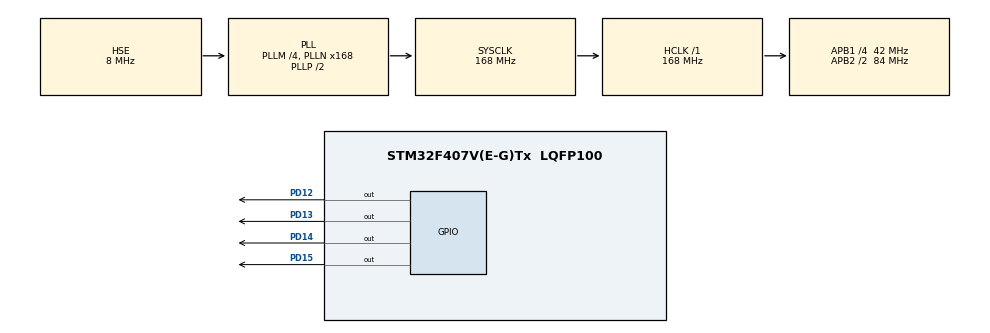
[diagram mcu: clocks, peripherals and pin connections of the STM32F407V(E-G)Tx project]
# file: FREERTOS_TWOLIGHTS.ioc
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FREERTOS.BinarySemaphores01=myBinarySem01,Dynamic,NULL,Available;myBinarySem02,Dynamic,NULL,Available
FREERTOS.Tasks01=TrafficLight1,0,128,StartTrafficLight1,Default,NULL,Dynamic,NULL,NULL;TrafficLight2,1,128,StartTrafficLight2,Default,NULL,Dynamic,NULL,NULL
FREERTOS.configUSE_NEWLIB_REENTRANT=1
Mcu.Family=STM32F4
Mcu.Name=STM32F407V(E-G)Tx
Mcu.Package=LQFP100
NVIC.PriorityGroup=NVIC_PRIORITYGROUP_4
NVIC.TIM1_UP_TIM10_IRQn=true\:15\:0\:false\:false\:true\:false\:false\:true\:true
NVIC.TimeBase=TIM1_UP_TIM10_IRQn
NVIC.TimeBaseIP=TIM1
PA13.Mode=Serial_Wire
PA13.Signal=SYS_JTMS-SWDIO
PA14.Mode=Serial_Wire
PA14.Signal=SYS_JTCK-SWCLK
PD12.Signal=GPIO_Output
PD13.Signal=GPIO_Output
PD14.Signal=GPIO_Output
PD15.Signal=GPIO_Output
PH0-OSC_IN.Mode=HSE-External-Oscillator
PH0-OSC_IN.Signal=RCC_OSC_IN
PH1-OSC_OUT.Mode=HSE-External-Oscillator
PH1-OSC_OUT.Signal=RCC_OSC_OUT
ProjectManager.HeapSize=0x200
ProjectManager.StackSize=0x400
ProjectManager.TargetToolchain=STM32CubeIDE
RCC.48MHZClocksFreq_Value=84000000
RCC.AHBFreq_Value=168000000
RCC.APB1CLKDivider=RCC_HCLK_DIV4
RCC.APB1Freq_Value=42000000
RCC.APB1TimFreq_Value=84000000
RCC.APB2CLKDivider=RCC_HCLK_DIV2
RCC.APB2Freq_Value=84000000
RCC.APB2TimFreq_Value=168000000
RCC.CortexFreq_Value=168000000
RCC.HCLKFreq_Value=168000000
RCC.HSE_VALUE=8000000
RCC.HSI_VALUE=16000000
RCC.LSE_VALUE=32768
RCC.PLLM=4
RCC.PLLN=168
RCC.PLLSourceVirtual=RCC_PLLSOURCE_HSE
RCC.SYSCLKFreq_VALUE=168000000
RCC.SYSCLKSource=RCC_SYSCLKSOURCE_PLLCLK
RCC.VCOOutputFreq_Value=336000000
VP_FREERTOS_VS_CMSIS_V1.Mode=CMSIS_V1
VP_SYS_VS_tim1.Mode=TIM1
board=custom

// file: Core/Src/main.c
/* USER CODE BEGIN Header */
/**
  ******************************************************************************
  * @file           : main.c
  * @brief          : Main program body
  ******************************************************************************
  * @attention
  *
  * Copyright (c) 2024 STMicroelectronics.
  * All rights reserved.
  *
  * This software is licensed under terms that can be found in the LICENSE file
  * in the root directory of this software component.
  * If no LICENSE file comes with this software, it is provided AS-IS.
  *
  ******************************************************************************
  */
/* USER CODE END Header */
#include "main.h"
#include "cmsis_os.h"

osThreadId TrafficLight1Handle;
osThreadId TrafficLight2Handle;
osSemaphoreId myBinarySem01Handle;
osSemaphoreId myBinarySem02Handle;

void SystemClock_Config(void);
static void MX_GPIO_Init(void);
void StartTrafficLight1(void const * argument);
void StartTrafficLight2(void const * argument);

int main(void)
{

  /* MCU Configuration--------------------------------------------------------*/

  /* Reset of all peripherals, Initializes the Flash interface and the Systick. */
  HAL_Init();

  /* Configure the system clock */
  SystemClock_Config();

  /* Initialize all configured peripherals */
  MX_GPIO_Init();

  /* Create the semaphores(s) */
  /* definition and creation of myBinarySem01 */
  osSemaphoreDef(myBinarySem01);
  myBinarySem01Handle = osSemaphoreCreate(osSemaphore(myBinarySem01), 1);

  /* definition and creation of myBinarySem02 */
  osSemaphoreDef(myBinarySem02);
  myBinarySem02Handle = osSemaphoreCreate(osSemaphore(myBinarySem02), 1);

  /* Create the thread(s) */
  /* definition and creation of TrafficLight1 */
  osThreadDef(TrafficLight1, StartTrafficLight1, osPriorityNormal, 0, 128);
  TrafficLight1Handle = osThreadCreate(osThread(TrafficLight1), NULL);

  /* definition and creation of TrafficLight2 */
  osThreadDef(TrafficLight2, StartTrafficLight2, osPriorityAboveNormal, 0, 128);
  TrafficLight2Handle = osThreadCreate(osThread(TrafficLight2), NULL);

  /* Start scheduler */
  osKernelStart();

  /* We should never get here as control is now taken by the scheduler */

  /* Infinite loop */
  while (1)
  {

  }
}

void SystemClock_Config(void)
{
  RCC_OscInitTypeDef RCC_OscInitStruct = {0};
  RCC_ClkInitTypeDef RCC_ClkInitStruct = {0};

  /** Configure the main internal regulator output voltage
  */
  __HAL_RCC_PWR_CLK_ENABLE();
  __HAL_PWR_VOLTAGESCALING_CONFIG(PWR_REGULATOR_VOLTAGE_SCALE1);

  /** Initializes the RCC Oscillators according to the specified parameters
  * in the RCC_OscInitTypeDef structure.
  */
  RCC_OscInitStruct.OscillatorType = RCC_OSCILLATORTYPE_HSE;
  RCC_OscInitStruct.HSEState = RCC_HSE_ON;
  RCC_OscInitStruct.PLL.PLLState = RCC_PLL_ON;
  RCC_OscInitStruct.PLL.PLLSource = RCC_PLLSOURCE_HSE;
  RCC_OscInitStruct.PLL.PLLM = 4;
  RCC_OscInitStruct.PLL.PLLN = 168;
  RCC_OscInitStruct.PLL.PLLP = RCC_PLLP_DIV2;
  RCC_OscInitStruct.PLL.PLLQ = 4;
  if (HAL_RCC_OscConfig(&RCC_OscInitStruct) != HAL_OK)
  {
    Error_Handler();
  }

  /** Initializes the CPU, AHB and APB buses clocks
  */
  RCC_ClkInitStruct.ClockType = RCC_CLOCKTYPE_HCLK|RCC_CLOCKTYPE_SYSCLK
                              |RCC_CLOCKTYPE_PCLK1|RCC_CLOCKTYPE_PCLK2;
  RCC_ClkInitStruct.SYSCLKSource = RCC_SYSCLKSOURCE_PLLCLK;
  RCC_ClkInitStruct.AHBCLKDivider = RCC_SYSCLK_DIV1;
  RCC_ClkInitStruct.APB1CLKDivider = RCC_HCLK_DIV4;
  RCC_ClkInitStruct.APB2CLKDivider = RCC_HCLK_DIV2;

  if (HAL_RCC_ClockConfig(&RCC_ClkInitStruct, FLASH_LATENCY_5) != HAL_OK)
  {
    Error_Handler();
  }
}

static void MX_GPIO_Init(void)
{
  GPIO_InitTypeDef GPIO_InitStruct = {0};

  /* GPIO Ports Clock Enable */
  __HAL_RCC_GPIOH_CLK_ENABLE();
  __HAL_RCC_GPIOD_CLK_ENABLE();
  __HAL_RCC_GPIOA_CLK_ENABLE();

  /*Configure GPIO pin Output Level */
  HAL_GPIO_WritePin(GPIOD, GPIO_PIN_12|GPIO_PIN_13|GPIO_PIN_14|GPIO_PIN_15, GPIO_PIN_RESET);

  /*Configure GPIO pins : PD12 PD13 PD14 PD15 */
  GPIO_InitStruct.Pin = GPIO_PIN_12|GPIO_PIN_13|GPIO_PIN_14|GPIO_PIN_15;
  GPIO_InitStruct.Mode = GPIO_MODE_OUTPUT_PP;
  GPIO_InitStruct.Pull = GPIO_NOPULL;
  GPIO_InitStruct.Speed = GPIO_SPEED_FREQ_LOW;
  HAL_GPIO_Init(GPIOD, &GPIO_InitStruct);

}

void StartTrafficLight1(void const * argument)
{
  /* USER CODE BEGIN 5 */
  /* Infinite loop */
	HAL_GPIO_WritePin(GPIOD,GPIO_PIN_12,GPIO_PIN_SET); // RED Light 2 on

  for(;;)
  {
	  HAL_Delay(1000);
	  HAL_GPIO_WritePin(GPIOD,GPIO_PIN_12,GPIO_PIN_RESET);
	  HAL_GPIO_WritePin(GPIOD,GPIO_PIN_13,GPIO_PIN_SET);
	  HAL_Delay(3000);

	  HAL_GPIO_WritePin(GPIOD,GPIO_PIN_13,GPIO_PIN_RESET);
	  HAL_GPIO_WritePin(GPIOD,GPIO_PIN_12,GPIO_PIN_SET);
	  vTaskDelay(3000);
	  // HAL_Delay(3000);
	  vTaskPrioritySet(TrafficLight1Handle, 0);
	  vTaskPrioritySet(TrafficLight2Handle,1);

  }
  /* USER CODE END 5 */
}

void StartTrafficLight2(void const * argument)
{
  /* USER CODE BEGIN StartTrafficLight2 */
  /* Infinite loop */

	HAL_GPIO_WritePin(GPIOD,GPIO_PIN_14,GPIO_PIN_SET); // RED Light 2 on
  for(;;)
  {
	  	  HAL_Delay(1000);
	  	  HAL_GPIO_WritePin(GPIOD,GPIO_PIN_14,GPIO_PIN_RESET);
	  	  HAL_GPIO_WritePin(GPIOD,GPIO_PIN_15,GPIO_PIN_SET);
	  	  HAL_Delay(3000);

	  	  HAL_GPIO_WritePin(GPIOD,GPIO_PIN_15,GPIO_PIN_RESET);
	  	  HAL_GPIO_WritePin(GPIOD,GPIO_PIN_14,GPIO_PIN_SET);
	  	  vTaskDelay(3000);
	  	// HAL_Delay(3000);
	  	  vTaskPrioritySet(TrafficLight2Handle, 0);
	  	  vTaskPrioritySet(TrafficLight1Handle,1);

  }
  /* USER CODE END StartTrafficLight2 */
}

void HAL_TIM_PeriodElapsedCallback(TIM_HandleTypeDef *htim)
{
  if (htim->Instance == TIM1) {
    HAL_IncTick();
  }
}

void Error_Handler(void)
{
  __disable_irq();
  while (1)
  {
  }
}
